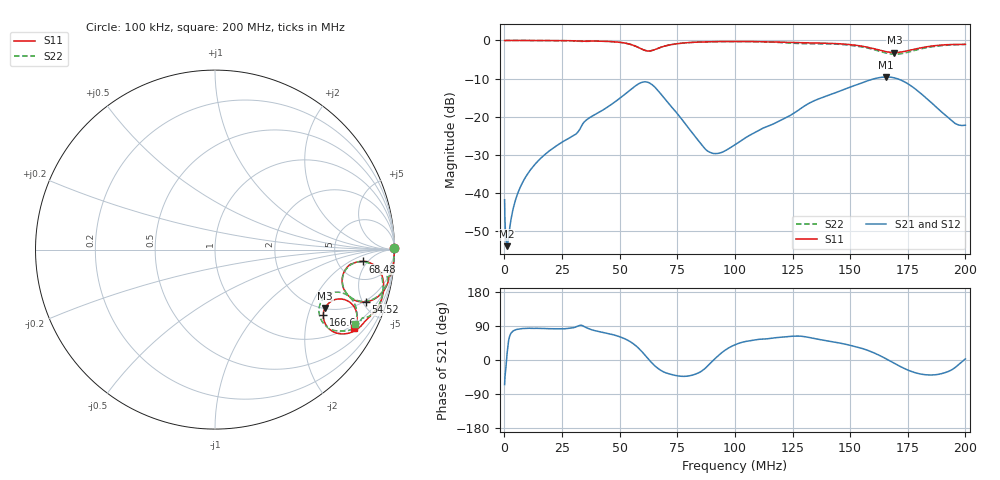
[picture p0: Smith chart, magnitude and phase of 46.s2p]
#  HZ  S  RI  R  50.00
! Rohde & Schwarz Vector Network Analyzer
! Rohde-Schwarz,ZNLE6-2Port,1323001256200024,1.71.1.10-23.02.1.238
! Created: UTC 4/7/2025, 2:33:16 AM
! freq[Hz]  re:S11  im:S11  re:S21  im:S21  re:S12  im:S12  re:S22  im:S22
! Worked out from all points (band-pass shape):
!   1001 points, 100 kHz to 200 MHz, reference 50 ohm
!   highest |S21| = -9.58 dB at 165.4 MHz (marker M1); lowest = -53.9 dB at 1.113 MHz (marker M2)
!   |S21| within 3 dB of the highest: 55.4 MHz to 65.79 MHz (10.39 MHz wide, 17.2 % of centre); 148.5 MHz to 177.9 MHz (29.42 MHz wide, 18 % of centre)
!   lowest |S11| = -3.2 dB at 169.2 MHz (marker M3), VSWR 5.53, Z = 102 - j127 ohm
!   |S11| at or under -10 dB: nowhere
!   |S22| runs from -3.6 to 0.0 dB; largest |S21 - S12| = 0.008
!   S11 on the Smith chart (normalised r, x): 100 kHz: open; 54.52 MHz: 1.89, -5.31; 68.48 MHz: 8.89, -3.68; 166.6 MHz: 1.75, -2.51; 200 MHz: 0.87, -3.62
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100000  0.9967 0.00722  0.00346 -0.00739  0.00347 -0.0074  0.9966 0.00708
355854.1  0.9971 0.00134  0.0029 -0.00226  0.0029 -0.00227  0.9971 0.00132
1112824  0.9981 -0.00313  0.00197 0.000411  0.00197 0.000408  0.9981 -0.00325
1266322  0.9982 -0.00395  0.00188 0.000791  0.00188 0.000794  0.9982 -0.00406
4472136  0.9984 -0.0188  0.00146 0.00731  0.00151 0.0073  0.9982 -0.0197
1.591428e7  0.9954 -0.0693  0.00338 0.0286  0.00357 0.0285  0.9954 -0.0714
3.083022e7  0.9764 -0.1458  0.00316 0.0585  0.00467 0.0585  0.9696 -0.1496
4.508459e7  0.9434 -0.2237  0.0469 0.1275  0.0479 0.1264  0.9433 -0.2201
5.451975e7  0.842 -0.2905  0.1478 0.1679  0.1503 0.1644  0.8435 -0.2871
5.663162e7  0.7963 -0.2885  0.193 0.16  0.1954 0.1557  0.7984 -0.2851
6.25133e7  0.71 -0.1522  0.2804 0.0109  0.2804 0.00902  0.7112 -0.1537
6.848331e7  0.8224 -0.0661  0.1641 -0.0928  0.1616 -0.0988  0.8213 -0.0674
8.667956e7  0.9386 -0.1836  0.0357 -0.0161  0.0355 -0.0169  0.9352 -0.1898
9.211385e7  0.94 -0.2165  0.0326 0.00442  0.0331 0.00347  0.9362 -0.2253
1.248436e8  0.8652 -0.3706  0.0495 0.0956  0.0496 0.0947  0.8367 -0.3795
1.453405e8  0.7851 -0.4488  0.1528 0.1525  0.1539 0.1503  0.7734 -0.4383
1.653881e8  0.604 -0.3818  0.3311 0.022  0.3274 0.0152  0.581 -0.3632
1.6665e8  0.6031 -0.3625  0.3312 -0.00211  0.3274 -0.00846  0.5788 -0.3418
1.692027e8  0.6132 -0.3248  0.3188 -0.0499  0.315 -0.0557  0.5874 -0.2989
1.798107e8  0.737 -0.2844  0.1715 -0.1247  0.1678 -0.1292  0.7234 -0.2464
1.925417e8  0.7908 -0.388  0.0839 -0.0492  0.0828 -0.0508  0.7905 -0.3575
2e8  0.7744 -0.4365  0.0773 0.00389  0.0785 0.00169  0.7817 -0.4167
